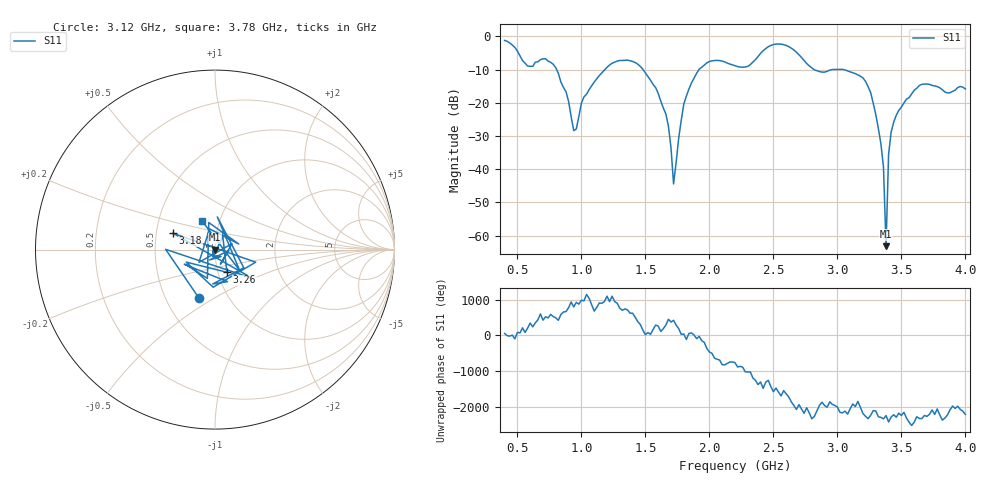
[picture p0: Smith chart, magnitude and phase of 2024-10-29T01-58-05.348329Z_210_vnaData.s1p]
!Created with skrf (http://scikit-rf.org).
# Hz S RI R 50.0
!freq ReS11 ImS11
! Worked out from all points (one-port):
!   181 points, 400 MHz to 4 GHz, reference 50 ohm
!   lowest |S11| = -63.2 dB at 3.38 GHz (marker M1), VSWR 1.00, Z = 50 - j0.0659 ohm
!   |S11| at or under -10 dB: 806.6 MHz to 1.184 GHz (377.4 MHz wide, 37.9 % of centre); 1.482 GHz to 1.918 GHz (435.9 MHz wide, 25.6 % of centre); 3.05 GHz to end of sweep (the widest 3 of 4)
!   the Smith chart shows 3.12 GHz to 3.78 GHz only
!   S11 on the Smith chart (normalised r, x): 3.12 GHz: 0.73, -0.43; 3.18 GHz: 0.61, +0.12; 3.26 GHz: 1.10, -0.28; 3.78 GHz: 0.82, +0.27
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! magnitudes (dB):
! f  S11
! 400 MHz  -1.2
! 580 MHz  -8.9
! 780 MHz  -8.4
! 860 MHz  -15.4
! 940 MHz  -28.4
! 1.02 GHz  -18.2
! 1.3 GHz  -7.2
! 1.44 GHz  -8.3
! 1.6 GHz  -17.1
! 1.68 GHz  -27.1
! 1.72 GHz  -44.4
! 1.76 GHz  -30.7
! 1.8 GHz  -20.4
! 1.92 GHz  -9.9
! 2.2 GHz  -8.8
! 2.66 GHz  -4.1
! 2.82 GHz  -10.0
! 3.1 GHz  -10.7
! 3.12 GHz  -10.9
! 3.18 GHz  -12.0
! 3.26 GHz  -16.9
! 3.36 GHz  -39.3
! 3.38 GHz  -63.2
! 3.4 GHz  -35.5
! 3.42 GHz  -28.8
! 3.56 GHz  -18.4
! 3.78 GHz  -15.1
! 4 GHz  -15.8
